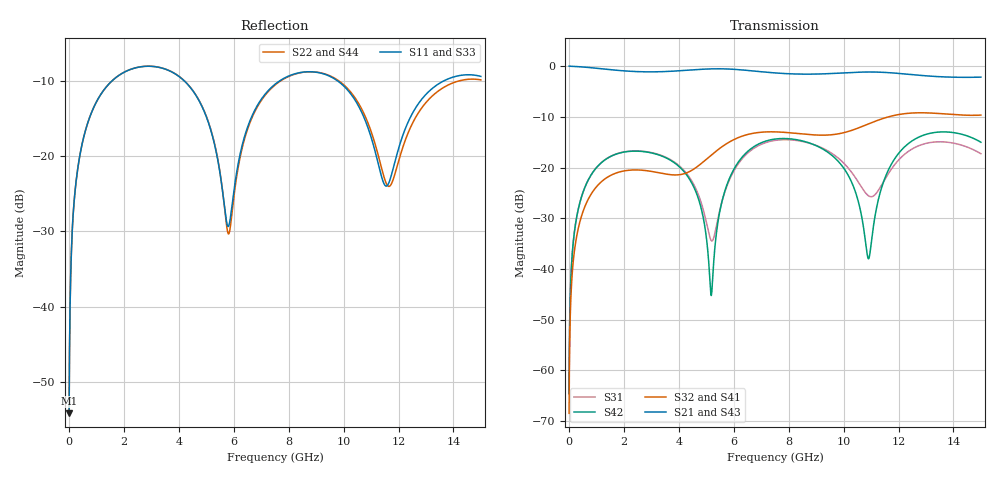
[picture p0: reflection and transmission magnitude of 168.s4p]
! Created with skrf 1.8.0 (http://scikit-rf.org).
# GHz S RI R 50.0
!freq ReS11 ImS11 ReS12 ImS12 ReS13 ImS13
! ReS14 ImS14
! ReS21 ImS21 ReS22 ImS22 ReS23 ImS23
! ReS24 ImS24
! ReS31 ImS31 ReS32 ImS32 ReS33 ImS33
! ReS34 ImS34
! ReS41 ImS41 ReS42 ImS42 ReS43 ImS43
! ReS44 ImS44
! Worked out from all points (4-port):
!   2499 points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, 5 MHz to 15 GHz, reference 50 ohm
!   strongest paths, dB at 5 MHz, 3.476 GHz, 7.19 GHz, 11.1 GHz, 15 GHz:
!     S21: 0.0, -1.1, -1.2, -1.2, -2.2
!     S43: 0.0, -1.1, -1.2, -1.2, -2.2
!     S32: -68.5, -21.2, -13.0, -11.0, -9.7
!     S41: -68.5, -21.2, -13.0, -11.0, -9.7
!     S42: -64.6, -18.0, -14.7, -31.2, -15.0
!     S31: -64.6, -17.9, -15.0, -25.6, -17.3
!   lowest |S11| = -54.2 dB at 5 MHz (marker M1), VSWR 1.00, Z = 50.2 + j0.119 ohm
!   |S11| at or under -10 dB: start of sweep to 1.556 GHz; 4.209 GHz to 7.656 GHz (3.447 GHz wide, 58.1 % of centre); 9.796 GHz to 13.63 GHz (3.832 GHz wide, 32.7 % of centre)
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0.005  0.00155 0.00118  0.9984 -0.00302  7.65e-05 0.000582  -7.45e-05 -0.00037
       0.9984 -0.00302  0.00155 0.00118  -7.45e-05 -0.00037  7.64e-05 0.000582
       7.65e-05 0.000582  -7.45e-05 -0.00037  0.00155 0.00118  0.9984 -0.00302
       -7.45e-05 -0.00037  7.64e-05 0.000582  0.9984 -0.00302  0.00155 0.00118
0.3126303  0.0218 0.0782  0.9703 -0.1882  0.00949 0.0347  -0.00793 -0.0219
           0.9703 -0.1882  0.0218 0.0782  -0.00793 -0.0219  0.00942 0.0348
           0.00949 0.0347  -0.00793 -0.0219  0.0218 0.0782  0.9703 -0.1882
           -0.00793 -0.0219  0.00942 0.0348  0.9703 -0.1882  0.0218 0.0782
1.519383  0.248 0.1886  0.5983 -0.7005  0.1129 0.0624  -0.0825 -0.014
          0.5983 -0.7005  0.2483 0.1885  -0.0825 -0.014  0.1119 0.0635
          0.1129 0.0624  -0.0825 -0.014  0.248 0.1886  0.5982 -0.7005
          -0.0825 -0.014  0.1119 0.0635  0.5982 -0.7005  0.2483 0.1885
5.177157  0.0755 -0.1257  -0.8583 -0.3805  -0.0176 -0.00733  -0.0497 0.1225
          -0.8583 -0.3805  0.0735 -0.1287  -0.0498 0.1225  -0.00525 -0.00153
          -0.0176 -0.00733  -0.0498 0.1225  0.0752 -0.126  -0.8583 -0.3804
          -0.0497 0.1225  -0.00525 -0.00153  -0.8583 -0.3804  0.0739 -0.1287
9.053772  0.3577 -0.0519  0.0366 0.8344  0.1354 -0.0908  0.1956 -0.0723
          0.0366 0.8344  0.3595 -0.0462  0.1959 -0.0725  0.1385 -0.0838
          0.1354 -0.0908  0.1959 -0.0725  0.3602 -0.0505  0.037 0.8334
          0.1956 -0.0723  0.1385 -0.0838  0.037 0.8334  0.3618 -0.0484
10.90454  0.1032 -0.1117  0.7473 0.4542  -0.0484 -0.0208  0.134 -0.2332
          0.7473 0.4542  0.11 -0.1214  0.1337 -0.2335  -0.0125 -0.00121
          -0.0484 -0.0208  0.1337 -0.2335  0.1076 -0.1137  0.7465 0.4541
          0.134 -0.2332  -0.0125 -0.00121  0.7465 0.4541  0.1099 -0.1262
15  0.3343 -0.0626  -0.0146 -0.7778  0.087 -0.1056  -0.3239 0.0562
    -0.0146 -0.7778  0.3215 -0.0259  -0.324 0.0565  0.1053 -0.143
    0.087 -0.1056  -0.324 0.0565  0.3364 -0.062  -0.0166 -0.777
    -0.3239 0.0562  0.1053 -0.143  -0.0166 -0.777  0.323 -0.0292
